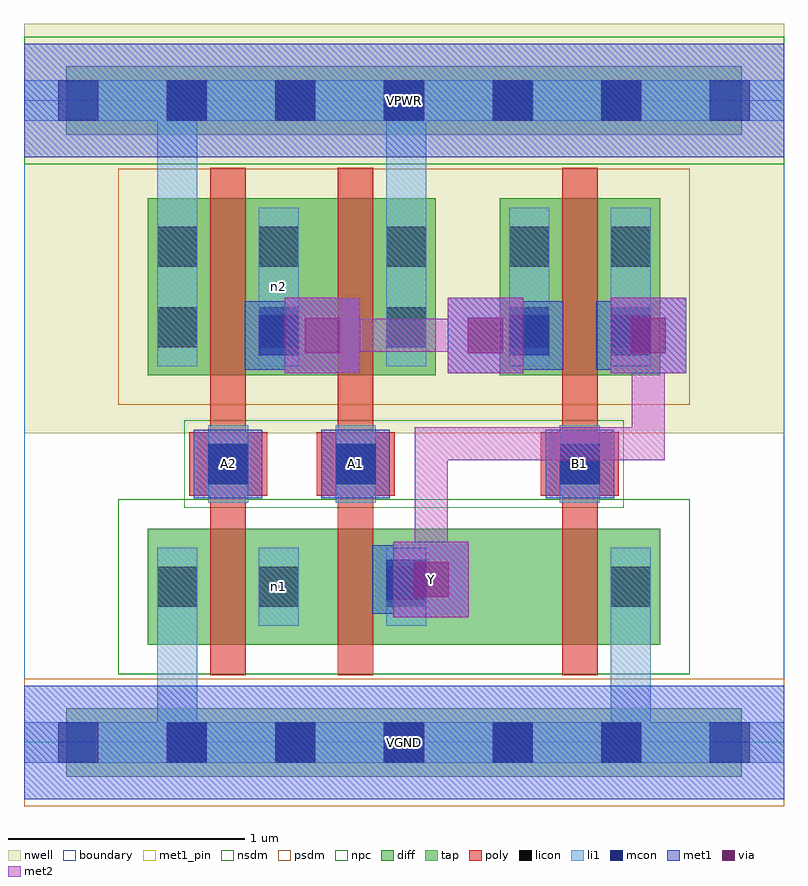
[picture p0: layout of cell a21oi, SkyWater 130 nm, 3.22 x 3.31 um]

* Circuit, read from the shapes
.subckt a21oi A1 A2 B1 VGND VPWR Y n1 n2
XM1 n1 A2 VGND VGND sky130_fd_pr__nfet_01v8 w=0.49 l=0.15
XM2 Y A1 n1 VGND sky130_fd_pr__nfet_01v8 w=0.49 l=0.15
XM3 VGND B1 Y VGND sky130_fd_pr__nfet_01v8 w=0.49 l=0.15
XM4 n2 A2 VPWR VPWR sky130_fd_pr__pfet_01v8 w=0.75 l=0.15
XM5 VPWR A1 n2 VPWR sky130_fd_pr__pfet_01v8 w=0.75 l=0.15
XM6 Y B1 n2 VPWR sky130_fd_pr__pfet_01v8 w=0.75 l=0.15
.ends

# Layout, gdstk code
import gdstk
lib = gdstk.Library(unit=1e-6, precision=1e-09)
def R(c, l, rs):  # rectangles x0, y0, x1, y1
    for r in rs: c.add(gdstk.rectangle(r[:2], r[2:], *l))
def A(c, l, x, y, w, h, nx, ny, dx, dy):  # array of equal rectangles
    R(c, l, [(x+i*dx, y+j*dy, x+i*dx+w, y+j*dy+h) for i in range(nx) for j in range(ny)])
nwell = (64, 20)
diff = (65, 20)
tap = (65, 44)
poly = (66, 20)
licon = (66, 44)
li1 = (67, 20)
mcon = (67, 44)
met1_pin = (68, 16)
met1 = (68, 20)
via = (68, 44)
met2 = (69, 20)
nsdm = (93, 44)
psdm = (94, 20)
npc = (95, 20)
boundary = (235, 4)

a21oi = lib.new_cell('a21oi')
R(a21oi, nwell, [(0,1.31,3.22,3.045)])
R(a21oi, diff, [(0.525,0.415,2.695,0.905), (0.525,1.555,1.745,2.305), (2.015,1.555,2.695,2.305)])
R(a21oi, tap, [(0.18,-0.145,3.04,0.145), (0.18,2.575,3.04,2.865)])
R(a21oi, poly, [(0.79,0.285,0.94,2.435), (1.33,0.285,1.48,2.435), (2.28,0.285,2.43,2.435), (0.7,1.045,1.03,1.315), (1.24,1.045,1.57,1.315), (2.19,1.045,2.52,1.315)])
A(a21oi, licon, 0.605, -0.085, 0.17, 0.17, 5, 2, 0.46, 2.72)
R(a21oi, licon, [(0.565,0.575,0.735,0.745), (0.995,0.575,1.165,0.745), (1.535,0.575,1.705,0.745), (2.485,0.575,2.655,0.745), (0.78,1.095,0.95,1.265), (1.32,1.095,1.49,1.265), (2.27,1.095,2.44,1.265), (0.565,1.675,0.735,1.845), (0.995,1.675,1.165,1.845), (1.535,1.675,1.705,1.845), (2.055,1.675,2.225,1.845), (2.485,1.675,2.655,1.845), (0.565,2.015,0.735,2.185), (0.995,2.015,1.165,2.185), (1.535,2.015,1.705,2.185), (2.055,2.015,2.225,2.185), (2.485,2.015,2.655,2.185)])
R(a21oi, li1, [(0,-0.085,3.22,0.085), (0.565,-0.085,0.735,0.825), (2.485,-0.085,2.655,0.825), (0.565,0.495,0.735,0.825), (0.995,0.495,1.165,0.825), (1.535,0.495,1.705,0.825), (2.485,0.495,2.655,0.825), (0.78,1.015,0.95,1.345), (1.32,1.015,1.49,1.345), (2.27,1.015,2.44,1.345), (0.565,1.595,0.735,2.265), (0.565,1.595,0.735,2.805), (0.995,1.595,1.165,2.265), (1.535,1.595,1.705,2.265), (1.535,1.595,1.705,2.805), (2.055,1.595,2.225,2.265), (2.485,1.595,2.655,2.265), (0,2.635,3.22,2.805)])
A(a21oi, mcon, 0.145, -0.085, 0.17, 0.17, 7, 2, 0.46, 2.72)
R(a21oi, mcon, [(1.535,0.605,1.705,0.775), (0.78,1.095,0.95,1.265), (1.32,1.095,1.49,1.265), (2.27,1.095,2.44,1.265), (0.995,1.64,1.165,1.81), (2.055,1.64,2.225,1.81), (2.485,1.64,2.655,1.81)])
R(a21oi, met1_pin, [(0,-0.24,3.22,0.24), (1.565,0.53,1.885,0.85), (0.72,1.035,1.01,1.325), (1.26,1.035,1.55,1.325), (2.21,1.035,2.5,1.325), (0,2.48,3.22,2.96)])
A(a21oi, met1, 1.105, 1.565, 0.32, 0.32, 3, 1, 0.69, 0)
R(a21oi, met1, [(0,-0.24,3.22,0.24), (1.565,0.53,1.885,0.85), (1.475,0.545,1.765,0.835), (1.55,0.62,1.795,0.76), (0.72,1.035,1.01,1.325), (1.26,1.035,1.55,1.325), (2.21,1.035,2.5,1.325), (0.935,1.58,1.225,1.87), (1.995,1.58,2.285,1.87), (2.425,1.58,2.715,1.87), (1.01,1.655,1.335,1.795), (1.885,1.655,2.21,1.795), (2.5,1.655,2.715,1.795), (0,2.48,3.22,2.96)])
A(a21oi, via, 1.19, 1.65, 0.15, 0.15, 3, 1, 0.69, 0)
R(a21oi, via, [(1.65,0.615,1.8,0.765)])
A(a21oi, met2, 1.105, 1.565, 0.32, 0.32, 3, 1, 0.69, 0)
R(a21oi, met2, [(1.565,0.53,1.885,0.85), (1.655,0.62,1.795,1.335), (1.655,1.195,2.715,1.335), (2.575,1.195,2.715,1.795), (1.195,1.655,2.025,1.795)])
R(a21oi, nsdm, [(0.4,0.29,2.82,1.03), (0,2.45,3.22,2.99)])
R(a21oi, psdm, [(0,-0.27,3.22,0.27), (0.4,1.43,2.82,2.43)])
R(a21oi, npc, [(0.68,0.995,2.54,1.365)])
R(a21oi, boundary, [(0,0,3.22,2.72)])
a21oi.add(gdstk.Label('n1', (1.08,0.66), layer=67, texttype=5))
a21oi.add(gdstk.Label('n2', (1.08,1.93), layer=67, texttype=5))
a21oi.add(gdstk.Label('A1', (1.405,1.18), layer=68, texttype=5))
a21oi.add(gdstk.Label('A2', (0.865,1.18), layer=68, texttype=5))
a21oi.add(gdstk.Label('B1', (2.355,1.18), layer=68, texttype=5))
a21oi.add(gdstk.Label('Y', (1.725,0.69), layer=68, texttype=5))
a21oi.add(gdstk.Label('VPWR', (1.61,2.72), layer=68, texttype=5))
a21oi.add(gdstk.Label('VGND', (1.61,0), layer=68, texttype=5))
a21oi.add(gdstk.Label('A1', (1.405,1.18), layer=68, texttype=16))
a21oi.add(gdstk.Label('A2', (0.865,1.18), layer=68, texttype=16))
a21oi.add(gdstk.Label('B1', (2.355,1.18), layer=68, texttype=16))
a21oi.add(gdstk.Label('Y', (1.725,0.69), layer=68, texttype=16))
a21oi.add(gdstk.Label('VPWR', (1.61,2.72), layer=68, texttype=16))
a21oi.add(gdstk.Label('VGND', (1.61,0), layer=68, texttype=16))

lib.write_gds('a21oi.gds')
